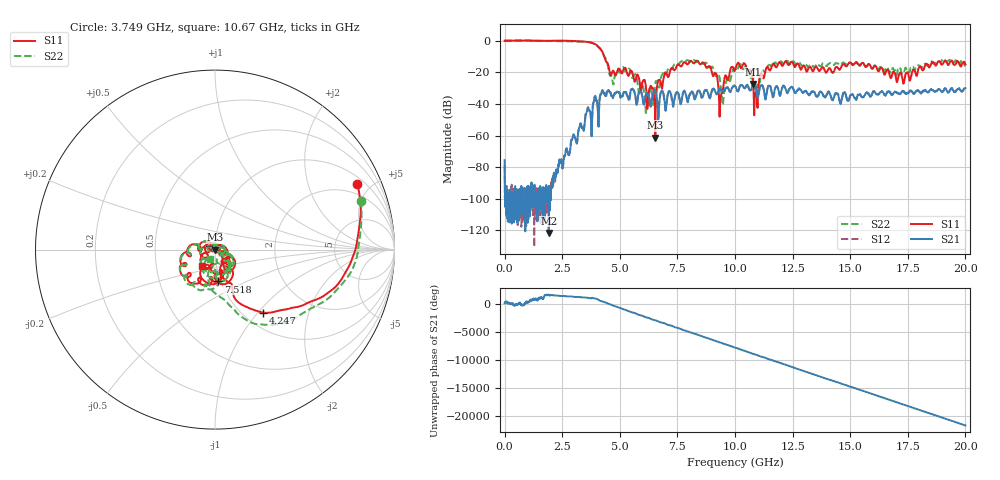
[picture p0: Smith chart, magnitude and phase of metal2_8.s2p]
#  HZ  S  RI  R  50.00
! Rohde & Schwarz Vector Network Analyzer
! Rohde-Schwarz,ZNB20-2Port,1311601062102128,3.60
! Created: UTC 4/29/2024, 3:56:33 PM
! freq[Hz]  re:S11  im:S11  re:S21  im:S21  re:S12  im:S12  re:S22  im:S22
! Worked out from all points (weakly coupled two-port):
!   2007 points, 100 kHz to 20 GHz, reference 50 ohm
!   highest |S21| = -27.34 dB at 10.8 GHz (marker M1); lowest = -121.6 dB at 1.914 GHz (marker M2)
!   lowest |S11| = -61.2 dB at 6.54 GHz (marker M3), VSWR 1.00, Z = 50.1 - j0.0286 ohm
!   |S11| at or under -10 dB: 4.327 GHz to end of sweep
!   |S22| runs from -46.9 to 0.1 dB; largest |S21 - S12| = 0.0023
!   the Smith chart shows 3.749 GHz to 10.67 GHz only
!   S11 on the Smith chart (normalised r, x): 3.749 GHz: 1.36, +4.16; 4.247 GHz: 1.22, -1.06; 7.518 GHz: 0.97, -0.36; 10.67 GHz: 0.85, -0.16
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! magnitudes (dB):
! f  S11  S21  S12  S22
! 100 kHz  0.0  -75.6  -78.7  0.1
! 1.914 GHz  -0.1  -121.6  -100.0  -0.2
! 3.34 GHz  -0.6  -54.7  -54.5  -0.6
! 3.749 GHz  -1.2  -49.9  -49.9  -1.3
! 4.247 GHz  -7.1  -31.7  -31.3  -7.4
! 4.656 GHz  -20.2  -34.7  -34.7  -23.1
! 5.394 GHz  -21.9  -37.3  -37.6  -17.7
! 6.142 GHz  -30.4  -34.0  -34.0  -44.8
! 6.54 GHz  -61.2  -31.5  -31.6  -27.0
! 6.67 GHz  -25.1  -50.0  -49.6  -27.9
! 7.518 GHz  -15.0  -32.7  -32.8  -15.4
! 8.883 GHz  -16.1  -35.9  -35.9  -17.1
! 9.382 GHz  -34.7  -31.0  -31.0  -29.1
! 10 GHz  -18.7  -28.8  -28.8  -17.7
! 10.67 GHz  -18.5  -31.3  -31.4  -24.4
! 10.8 GHz  -29.9  -27.3  -27.3  -24.2
! 10.92 GHz  -32.8  -30.8  -30.8  -30.4
! 11.13 GHz  -20.5  -28.3  -28.4  -21.6
! 11.67 GHz  -14.6  -35.5  -35.2  -14.9
! 13.34 GHz  -18.7  -32.0  -32.2  -15.0
! 16.67 GHz  -19.3  -32.0  -32.0  -19.3
! 20 GHz  -15.1  -30.1  -30.1  -15.1
